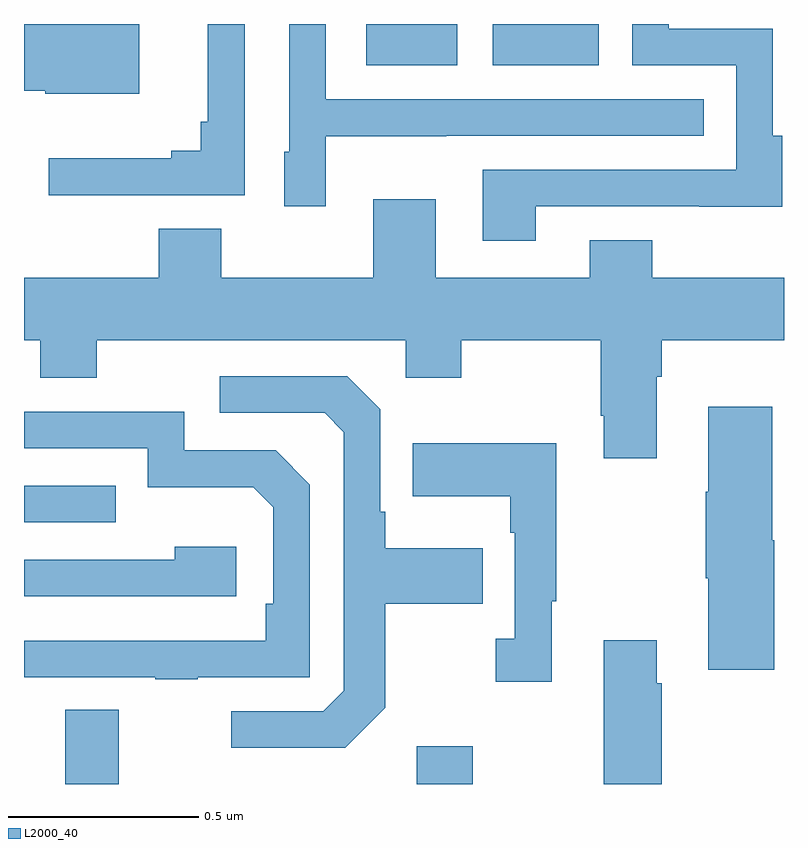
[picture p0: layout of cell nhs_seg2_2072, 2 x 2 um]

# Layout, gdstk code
import gdstk
lib = gdstk.Library(unit=1e-6, precision=1e-09)
def R(c, l, rs):  # rectangles x0, y0, x1, y1
    for r in rs: c.add(gdstk.rectangle(r[:2], r[2:], *l))
def P(c, l, *ps):  # polygons
    for p in ps: c.add(gdstk.Polygon(p, *l))
L2000_40 = (2000, 40)

nhs_seg2_2072 = lib.new_cell('nhs_seg2_2072')
R(nhs_seg2_2072, L2000_40, [(136.109,647.8,136.249,647.995), (137.033,647.8,137.181,647.899), (136,648.489,136.241,648.585), (136.901,649.691,137.14,649.8), (137.234,649.691,137.512,649.8)])
P(nhs_seg2_2072, L2000_40, [(137.347,649.32),(137.777,649.32),(137.777,649.319),(137.995,649.319),(137.995,649.506),(137.97,649.506),(137.97,649.788),(137.697,649.788),(137.697,649.8),(137.601,649.8),(137.601,649.692),(137.874,649.692),(137.874,649.416),(137.207,649.416),(137.207,649.23),(137.347,649.23)],
  [(136.794,649.505),(137.111,649.505),(137.111,649.506),(137.789,649.506),(137.789,649.602),(136.794,649.602),(136.794,649.8),(136.698,649.8),(136.698,649.464),(136.685,649.464),(136.685,649.32),(136.794,649.32)],
  [(136.303,649.8),(136,649.8),(136,649.625),(136.056,649.625),(136.056,649.616),(136.303,649.616)],
  [(136.581,649.8),(136.484,649.8),(136.484,649.543),(136.465,649.543),(136.465,649.466),(136.388,649.466),(136.388,649.447),(136.065,649.447),(136.065,649.35),(136.581,649.35)],
  [(137.665,648.872),(137.678,648.872),(137.678,648.968),(138,648.968),(138,649.132),(137.653,649.132),(137.653,649.231),(137.489,649.231),(137.489,649.132),(137.083,649.132),(137.083,649.339),(136.919,649.339),(136.919,649.132),(136.519,649.132),(136.519,649.261),(136.355,649.261),(136.355,649.132),(136,649.132),(136,648.968),(136.043,648.968),(136.043,648.869),(136.191,648.869),(136.191,648.968),(137.004,648.968),(137.004,648.869),(137.151,648.869),(137.151,648.968),(137.518,648.968),(137.518,648.769),(137.525,648.769),(137.525,648.657),(137.665,648.657)],
  [(136.951,648.001),(136.951,648.274),(137.207,648.274),(137.207,648.421),(136.951,648.421),(136.951,648.517),(136.938,648.517),(136.938,648.786),(136.851,648.873),(136.515,648.873),(136.515,648.777),(136.791,648.777),(136.842,648.726),(136.842,648.045),(136.788,647.991),(136.545,647.991),(136.545,647.895),(136.845,647.895)],
  [(137.974,648.441),(137.969,648.441),(137.969,648.793),(137.801,648.793),(137.801,648.569),(137.794,648.569),(137.794,648.341),(137.801,648.341),(137.801,648.101),(137.974,648.101)],
  [(136.457,648.081),(136.752,648.081),(136.752,648.588),(136.662,648.678),(136.422,648.678),(136.422,648.78),(136,648.78),(136,648.684),(136.326,648.684),(136.326,648.581),(136.603,648.581),(136.656,648.528),(136.656,648.274),(136.636,648.274),(136.636,648.177),(136,648.177),(136,648.081),(136.345,648.081),(136.345,648.076),(136.457,648.076)],
  [(137.389,648.281),(137.401,648.281),(137.401,648.697),(137.023,648.697),(137.023,648.557),(137.28,648.557),(137.28,648.461),(137.292,648.461),(137.292,648.182),(137.241,648.182),(137.241,648.069),(137.389,648.069)],
  [(136.558,648.424),(136.397,648.424),(136.397,648.39),(136,648.39),(136,648.294),(136.558,648.294)],
  [(137.678,648.065),(137.665,648.065),(137.665,648.178),(137.525,648.178),(137.525,647.8),(137.678,647.8)])

lib.write_gds('nhs_seg2_2072.gds')
